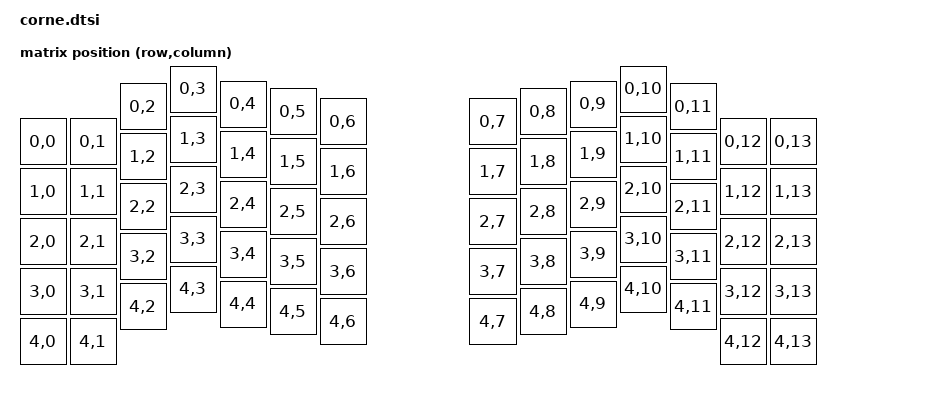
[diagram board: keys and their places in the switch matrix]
/*
* Copyright (c) 2022 The ZMK Contributors
*
* SPDX-License-Identifier: MIT
*/

#include <dt-bindings/zmk/matrix_transform.h>
#include <physical_layouts.dtsi>

/ {
    chosen {
        zmk,kscan = &kscan0;
        zmk,physical-layout = &default_layout;
    };

    default_transform: keymap_transform_0 {
        compatible = "zmk,matrix-transform";
        columns = <14>;
        rows = <5>;
// | SW00 | SW01 | SW02 | SW03 | SW04 | SW05 | SW06 |   | SW07 | SW08 | SW09 | SW10 | SW11 | SW12 | SW13 |
// | SW14 | SW15 | SW16 | SW17 | SW18 | SW19 | SW20 |   | SW21 | SW22 | SW23 | SW24 | SW25 | SW26 | SW27 |
// | SW28 | SW29 | SW30 | SW31 | SW32 | SW33 | SW34 |   | SW35 | SW36 | SW37 | SW38 | SW39 | SW40 | SW41 |
// | SW42 | SW43 | SW44 | SW45 | SW46 | SW47 | SW48 |   | SW49 | SW50 | SW51 | SW52 | SW53 | SW54 | SW55 |
// | SW56 | SW57 | SW58 | SW59 | SW60 | SW61 | SW62 |   | SW63 | SW64 | SW65 | SW66 | SW67 | SW68 | SW69 |
            map = <
RC(0,0) RC(0,1) RC(0,2) RC(0,3) RC(0,4) RC(0,5) RC(0,6) RC(0,7) RC(0,8) RC(0,9) RC(0,10) RC(0,11) RC(0,12) RC(0,13)
RC(1,0) RC(1,1) RC(1,2) RC(1,3) RC(1,4) RC(1,5) RC(1,6) RC(1,7) RC(1,8) RC(1,9) RC(1,10) RC(1,11) RC(1,12) RC(1,13)
RC(2,0) RC(2,1) RC(2,2) RC(2,3) RC(2,4) RC(2,5) RC(2,6) RC(2,7) RC(2,8) RC(2,9) RC(2,10) RC(2,11) RC(2,12) RC(2,13)
RC(3,0) RC(3,1) RC(3,2) RC(3,3) RC(3,4) RC(3,5) RC(3,6) RC(3,7) RC(3,8) RC(3,9) RC(3,10) RC(3,11) RC(3,12) RC(3,13)
RC(4,0) RC(4,1) RC(4,2) RC(4,3) RC(4,4) RC(4,5) RC(4,6) RC(4,7) RC(4,8) RC(4,9) RC(4,10) RC(4,11) RC(4,12) RC(4,13)
            >;
    };
 
    kscan0: kscan_0 {
        diode-direction = "col2row";
    };

    default_layout: default_layout {
        compatible = "zmk,physical-layout";
        display-name = "REDOX";

        transform = <&default_transform>;

        keys  //                     w   h    x    y     rot    rx    ry
            = <&key_physical_attrs 100 100    0  105       0     0     0>
            , <&key_physical_attrs 100 100  100  105       0     0     0>
            , <&key_physical_attrs 100 100  200   35       0     0     0>
            , <&key_physical_attrs 100 100  300    0       0     0     0>
            , <&key_physical_attrs 100 100  400   30       0     0     0>
            , <&key_physical_attrs 100 100  500   45       0     0     0>
            , <&key_physical_attrs 100 100  600   65       0     0     0>
            , <&key_physical_attrs 100 100  900   65       0     0     0>
            , <&key_physical_attrs 100 100 1000   45       0     0     0>
            , <&key_physical_attrs 100 100 1100   30       0     0     0>
            , <&key_physical_attrs 100 100 1200    0       0     0     0>
            , <&key_physical_attrs 100 100 1300   35       0     0     0>
            , <&key_physical_attrs 100 100 1400  105       0     0     0>
            , <&key_physical_attrs 100 100 1500  105       0     0     0>
            , <&key_physical_attrs 100 100    0  205       0     0     0>
            , <&key_physical_attrs 100 100  100  205       0     0     0>
            , <&key_physical_attrs 100 100  200  135       0     0     0>
            , <&key_physical_attrs 100 100  300  100       0     0     0>
            , <&key_physical_attrs 100 100  400  130       0     0     0>
            , <&key_physical_attrs 100 100  500  145       0     0     0>
            , <&key_physical_attrs 100 100  600  165       0     0     0>
            , <&key_physical_attrs 100 100  900  165       0     0     0>
            , <&key_physical_attrs 100 100 1000  145       0     0     0>
            , <&key_physical_attrs 100 100 1100  130       0     0     0>
            , <&key_physical_attrs 100 100 1200  100       0     0     0>
            , <&key_physical_attrs 100 100 1300  135       0     0     0>
            , <&key_physical_attrs 100 100 1400  205       0     0     0>
            , <&key_physical_attrs 100 100 1500  205       0     0     0>
            , <&key_physical_attrs 100 100    0  305       0     0     0>
            , <&key_physical_attrs 100 100  100  305       0     0     0>
            , <&key_physical_attrs 100 100  200  235       0     0     0>
            , <&key_physical_attrs 100 100  300  200       0     0     0>
            , <&key_physical_attrs 100 100  400  230       0     0     0>
            , <&key_physical_attrs 100 100  500  245       0     0     0>
            , <&key_physical_attrs 100 100  600  265       0     0     0>
            , <&key_physical_attrs 100 100  900  265       0     0     0>
            , <&key_physical_attrs 100 100 1000  245       0     0     0>
            , <&key_physical_attrs 100 100 1100  230       0     0     0>
            , <&key_physical_attrs 100 100 1200  200       0     0     0>
            , <&key_physical_attrs 100 100 1300  235       0     0     0>
            , <&key_physical_attrs 100 100 1400  305       0     0     0>
            , <&key_physical_attrs 100 100 1500  305       0     0     0>
            , <&key_physical_attrs 100 100    0  405       0     0     0>
            , <&key_physical_attrs 100 100  100  405       0     0     0>
            , <&key_physical_attrs 100 100  200  335       0     0     0>
            , <&key_physical_attrs 100 100  300  300       0     0     0>
            , <&key_physical_attrs 100 100  400  330       0     0     0>
            , <&key_physical_attrs 100 100  500  345       0     0     0>
            , <&key_physical_attrs 100 100  600  365       0     0     0>
            , <&key_physical_attrs 100 100  900  365       0     0     0>
            , <&key_physical_attrs 100 100 1000  345       0     0     0>
            , <&key_physical_attrs 100 100 1100  330       0     0     0>
            , <&key_physical_attrs 100 100 1200  300       0     0     0>
            , <&key_physical_attrs 100 100 1300  335       0     0     0>
            , <&key_physical_attrs 100 100 1400  405       0     0     0>
            , <&key_physical_attrs 100 100 1500  405       0     0     0>
            , <&key_physical_attrs 100 100    0  505       0     0     0>
            , <&key_physical_attrs 100 100  100  505       0     0     0>
            , <&key_physical_attrs 100 100  200  435       0     0     0>
            , <&key_physical_attrs 100 100  300  400       0     0     0>
            , <&key_physical_attrs 100 100  400  430       0     0     0>
            , <&key_physical_attrs 100 100  500  445       0     0     0>
            , <&key_physical_attrs 100 100  600  465       0     0     0>
            , <&key_physical_attrs 100 100  900  465       0     0     0>
            , <&key_physical_attrs 100 100 1000  445       0     0     0>
            , <&key_physical_attrs 100 100 1100  430       0     0     0>
            , <&key_physical_attrs 100 100 1200  400       0     0     0>
            , <&key_physical_attrs 100 100 1300  435       0     0     0>
            , <&key_physical_attrs 100 100 1400  505       0     0     0>
            , <&key_physical_attrs 100 100 1500  505       0     0     0>
            ;
    };
};
